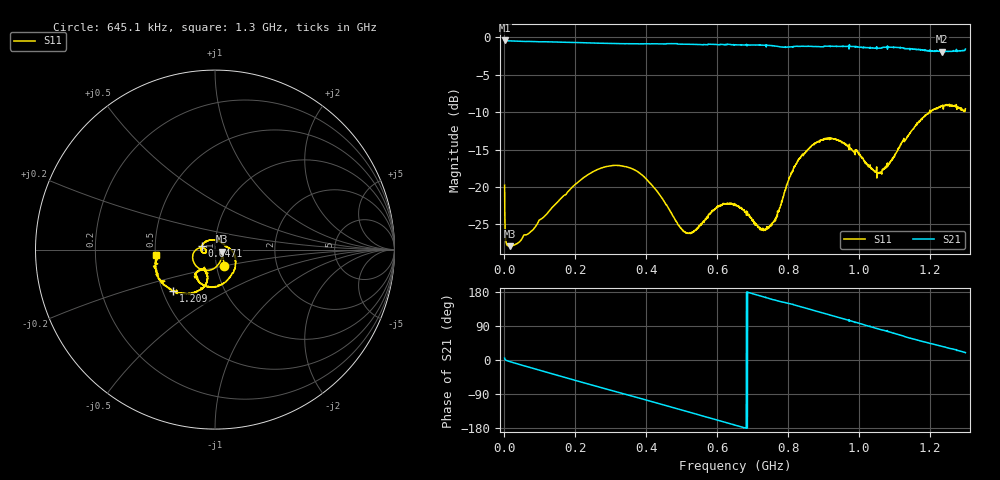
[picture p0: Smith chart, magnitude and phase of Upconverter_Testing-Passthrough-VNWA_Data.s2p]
! ListType=Lin
# MHZ S DB R 50
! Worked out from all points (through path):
!   2047 points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, 645.1 kHz to 1.3 GHz, reference 50 ohm
!   highest |S21| = -0.45 dB at 1.28 MHz (marker M1); lowest = -2.0 dB at 1.234 GHz (marker M2)
!   group delay of S21, straight-line fit = 728 ps
!   lowest |S11| = -27.9 dB at 16.52 MHz (marker M3), VSWR 1.08, Z = 54 - j1.16 ohm
!   |S11| at or under -10 dB: start of sweep to 1.199 GHz; 1.200085 GHz to 1.202028 GHz (1.943 MHz wide, 0.162 % of centre)
!   S12 and S22 are empty: the file has one direction only
!   S11 on the Smith chart (normalised r, x): 645.1 kHz: 1.09, -0.20; 647.1 MHz: 0.86, +0.03; 1.209 GHz: 0.57, -0.29; 1.3 GHz: 0.50, -0.04
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0.6450708  -19.78 -59.8  -0.47 5.0  -3000.00 -90.0  -3000.00 -90.0
1.280142  -23.75 -46.1  -0.45 2.1  -3000.00 -90.0  -3000.00 -90.0
8.265921  -27.78 -16.3  -0.49 -2.1  -3000.00 -90.0  -3000.00 -90.0
16.52184  -27.90 -15.4  -0.51 -4.6  -3000.00 -90.0  -3000.00 -90.0
112.4175  -23.94 -58.3  -0.62 -30.4  -3000.00 -90.0  -3000.00 -90.0
217.2042  -18.98 -99.1  -0.75 -58.3  -3000.00 -90.0  -3000.00 -90.0
330.2468  -17.19 -147.1  -0.88 -87.7  -3000.00 -90.0  -3000.00 -90.0
433.7634  -20.78 174.9  -0.91 -114.4  -3000.00 -90.0  -3000.00 -90.0
517.5927  -26.18 -173.0  -0.96 -136.6  -3000.00 -90.0  -3000.00 -90.0
601.4221  -22.63 -171.0  -1.00 -159.0  -3000.00 -90.0  -3000.00 -90.0
647.1472  -22.36 166.0  -1.07 -170.7  -3000.00 -90.0  -3000.00 -90.0
650.3225  -22.43 164.9  -1.02 -171.9  -3000.00 -90.0  -3000.00 -90.0
746.8533  -25.40 44.0  -1.12 162.2  -3000.00 -90.0  -3000.00 -90.0
821.1566  -17.03 -36.0  -1.24 144.4  -3000.00 -90.0  -3000.00 -90.0
866.8817  -14.45 -70.8  -1.24 132.4  -3000.00 -90.0  -3000.00 -90.0
969.1281  -14.54 -124.0  -1.24 105.2  -3000.00 -90.0  -3000.00 -90.0
1048.512  -18.00 -119.9  -1.49 83.5  -3000.00 -90.0  -3000.00 -90.0
1084.076  -16.89 -108.9  -1.35 74.6  -3000.00 -90.0  -3000.00 -90.0
1136.787  -13.22 -106.1  -1.55 59.5  -3000.00 -90.0  -3000.00 -90.0
1209.185  -9.69 -135.6  -1.89 41.8  -3000.00 -90.0  -3000.00 -90.0
1233.953  -9.26 -146.7  -1.95 36.2  -3000.00 -90.0  -3000.00 -90.0
1300  -9.56 -174.4  -1.60 19.4  -3000.00 -90.0  -3000.00 -90.0
